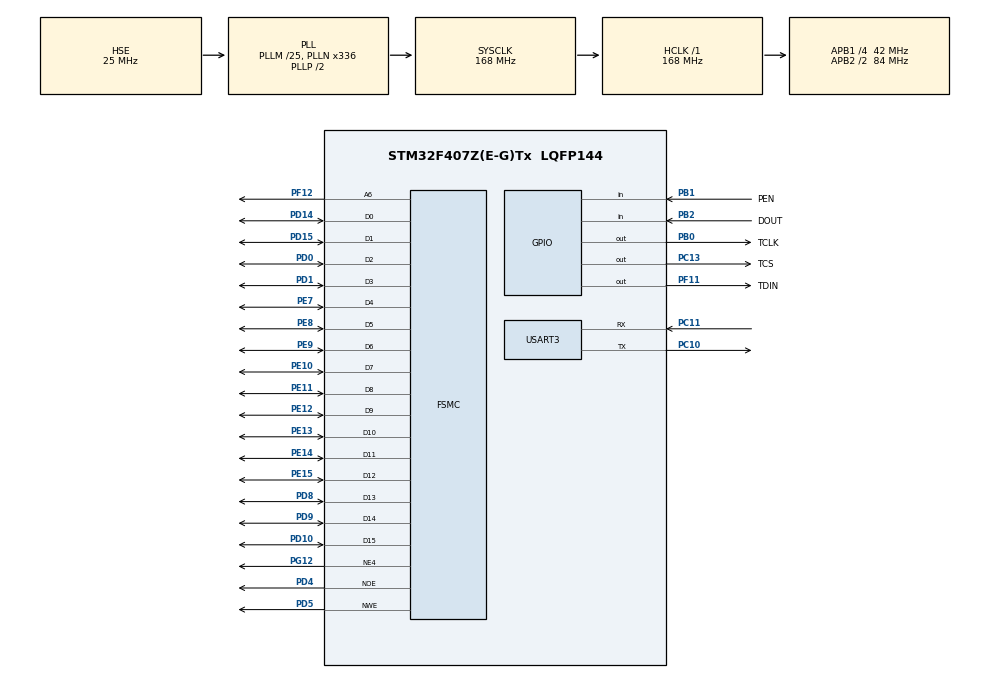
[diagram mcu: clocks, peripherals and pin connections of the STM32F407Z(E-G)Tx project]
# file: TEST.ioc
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Dma.MEMTOMEM.0.Direction=DMA_MEMORY_TO_MEMORY
Dma.MEMTOMEM.0.FIFOMode=DMA_FIFOMODE_ENABLE
Dma.MEMTOMEM.0.FIFOThreshold=DMA_FIFO_THRESHOLD_FULL
Dma.MEMTOMEM.0.Instance=DMA2_Stream0
Dma.MEMTOMEM.0.MemBurst=DMA_MBURST_SINGLE
Dma.MEMTOMEM.0.MemDataAlignment=DMA_MDATAALIGN_HALFWORD
Dma.MEMTOMEM.0.MemInc=DMA_MINC_ENABLE
Dma.MEMTOMEM.0.Mode=DMA_NORMAL
Dma.MEMTOMEM.0.PeriphBurst=DMA_PBURST_SINGLE
Dma.MEMTOMEM.0.PeriphDataAlignment=DMA_PDATAALIGN_HALFWORD
Dma.MEMTOMEM.0.PeriphInc=DMA_PINC_ENABLE
Dma.MEMTOMEM.0.Priority=DMA_PRIORITY_LOW
Dma.Request0=MEMTOMEM
FREERTOS.Tasks01=defaultTask,0,128,StartDefaultTask,Default,NULL,Dynamic,NULL,NULL;myTask02,-3,2048,StartTask02,Default,NULL,Dynamic,NULL,NULL
FSMC.AddressSetupTime4=2
FSMC.BusTurnAroundDuration4=0
FSMC.DataSetupTime4=16
FSMC.ExtendedAddressSetupTime4=4
FSMC.ExtendedBusTurnAroundDuration4=0
FSMC.ExtendedDataSetupTime4=9
FSMC.ExtendedMode4=FSMC_EXTENDED_MODE_ENABLE
Mcu.Family=STM32F4
Mcu.Name=STM32F407Z(E-G)Tx
Mcu.Package=LQFP144
NVIC.PriorityGroup=NVIC_PRIORITYGROUP_4
NVIC.TIM1_UP_TIM10_IRQn=true\:5\:0\:false\:false\:true\:true\:true\:true\:true
NVIC.TIM6_DAC_IRQn=true\:15\:0\:false\:false\:true\:false\:false\:true\:true
NVIC.TimeBase=TIM6_DAC_IRQn
NVIC.TimeBaseIP=TIM6
PA13.Mode=Serial_Wire
PA13.Signal=SYS_JTMS-SWDIO
PA14.Mode=Serial_Wire
PA14.Signal=SYS_JTCK-SWCLK
PB0.GPIO_Label=TCLK
PB0.GPIO_Speed=GPIO_SPEED_FREQ_VERY_HIGH
PB0.PinState=GPIO_PIN_SET
PB0.Signal=GPIO_Output
PB1.GPIO_Label=PEN
PB1.GPIO_PuPd=GPIO_PULLUP
PB1.Signal=GPIO_Input
PB2.GPIO_Label=DOUT
PB2.Signal=GPIO_Input
PB3.Signal=SPI1_SCK
PB4.Signal=SPI1_MISO
PB5.Signal=SPI1_MOSI
PC10.Mode=Asynchronous
PC10.Signal=USART3_TX
PC11.Mode=Asynchronous
PC11.Signal=USART3_RX
PC13-ANTI_TAMP.GPIO_Label=TCS
PC13-ANTI_TAMP.PinState=GPIO_PIN_SET
PC13-ANTI_TAMP.Signal=GPIO_Output
PD0.Signal=FSMC_D2_DA2
PD1.Signal=FSMC_D3_DA3
PD10.Signal=FSMC_D15_DA15
PD14.Signal=FSMC_D0_DA0
PD15.Signal=FSMC_D1_DA1
PD4.Signal=FSMC_NOE
PD5.Signal=FSMC_NWE
PD8.Signal=FSMC_D13_DA13
PD9.Signal=FSMC_D14_DA14
PE10.Signal=FSMC_D7_DA7
PE11.Signal=FSMC_D8_DA8
PE12.Signal=FSMC_D9_DA9
PE13.Signal=FSMC_D10_DA10
PE14.Signal=FSMC_D11_DA11
PE15.Signal=FSMC_D12_DA12
PE7.Signal=FSMC_D4_DA4
PE8.Signal=FSMC_D5_DA5
PE9.Signal=FSMC_D6_DA6
PF11.GPIO_Label=TDIN
PF11.GPIO_Speed=GPIO_SPEED_FREQ_VERY_HIGH
PF11.Signal=GPIO_Output
PF12.Signal=FSMC_A6
PG12.Mode=NorPsramChipSelect4_4
PG12.Signal=FSMC_NE4
PH0-OSC_IN.Mode=HSE-External-Oscillator
PH0-OSC_IN.Signal=RCC_OSC_IN
PH1-OSC_OUT.Mode=HSE-External-Oscillator
PH1-OSC_OUT.Signal=RCC_OSC_OUT
ProjectManager.HeapSize=0x2000
ProjectManager.StackSize=0x2000
ProjectManager.TargetToolchain=MDK-ARM V5.32
RCC.48MHZClocksFreq_Value=67200000
RCC.AHBFreq_Value=168000000
RCC.APB1CLKDivider=RCC_HCLK_DIV4
RCC.APB1Freq_Value=42000000
RCC.APB1TimFreq_Value=84000000
RCC.APB2CLKDivider=RCC_HCLK_DIV2
RCC.APB2Freq_Value=84000000
RCC.APB2TimFreq_Value=168000000
RCC.CortexFreq_Value=168000000
RCC.HCLKFreq_Value=168000000
RCC.HSE_VALUE=25000000
RCC.HSI_VALUE=16000000
RCC.LSE_VALUE=32768
RCC.PLLM=25
RCC.PLLN=336
RCC.PLLQ=5
RCC.PLLSourceVirtual=RCC_PLLSOURCE_HSE
RCC.SYSCLKFreq_VALUE=168000000
RCC.SYSCLKSource=RCC_SYSCLKSOURCE_PLLCLK
RCC.VCOOutputFreq_Value=336000000
SH.FSMC_A6.0=FSMC_A6,A6_4
SH.FSMC_D0_DA0.0=FSMC_D0,16b-d4
SH.FSMC_D10_DA10.0=FSMC_D10,16b-d4
SH.FSMC_D11_DA11.0=FSMC_D11,16b-d4
SH.FSMC_D12_DA12.0=FSMC_D12,16b-d4
SH.FSMC_D13_DA13.0=FSMC_D13,16b-d4
SH.FSMC_D14_DA14.0=FSMC_D14,16b-d4
SH.FSMC_D15_DA15.0=FSMC_D15,16b-d4
SH.FSMC_D1_DA1.0=FSMC_D1,16b-d4
SH.FSMC_D2_DA2.0=FSMC_D2,16b-d4
SH.FSMC_D3_DA3.0=FSMC_D3,16b-d4
SH.FSMC_D4_DA4.0=FSMC_D4,16b-d4
SH.FSMC_D5_DA5.0=FSMC_D5,16b-d4
SH.FSMC_D6_DA6.0=FSMC_D6,16b-d4
SH.FSMC_D7_DA7.0=FSMC_D7,16b-d4
SH.FSMC_D8_DA8.0=FSMC_D8,16b-d4
SH.FSMC_D9_DA9.0=FSMC_D9,16b-d4
SH.FSMC_NOE.0=FSMC_NOE,Lcd4
SH.FSMC_NWE.0=FSMC_NWE,Lcd4
TIM10.AutoReloadPreload=TIM_AUTORELOAD_PRELOAD_DISABLE
TIM10.Period=999
TIM10.Prescaler=83
USART3.VirtualMode=VM_ASYNC
VP_FREERTOS_VS_CMSIS_V1.Mode=CMSIS_V1
VP_SYS_VS_tim6.Mode=TIM6
VP_TIM10_VS_ClockSourceINT.Mode=Enable_Timer
board=custom

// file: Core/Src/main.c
/* USER CODE BEGIN Header */
/**
  ******************************************************************************
  * @file           : main.c
  * @brief          : Main program body
  ******************************************************************************
  * @attention
  *
  * Copyright (c) 2025 STMicroelectronics.
  * All rights reserved.
  *
  * This software is licensed under terms that can be found in the LICENSE file
  * in the root directory of this software component.
  * If no LICENSE file comes with this software, it is provided AS-IS.
  *
  ******************************************************************************
  */
/* USER CODE END Header */
#include "main.h"
#include "cmsis_os.h"
#include "dma.h"
#include "tim.h"
#include "usart.h"
#include "gpio.h"
#include "fsmc.h"

/* USER CODE BEGIN Includes */
#include "lcd.h"
#include "touch.h"
#include "stdio.h"
#include "lvgl.h"
#include "lv_port_disp.h"
#include "lv_port_indev.h"
#include "lv_demo_widgets.h"
/* USER CODE END Includes */

void SystemClock_Config(void);
void MX_FREERTOS_Init(void);

int main(void)
{

  /* MCU Configuration--------------------------------------------------------*/

  /* Reset of all peripherals, Initializes the Flash interface and the Systick. */
  HAL_Init();

  /* Configure the system clock */
  SystemClock_Config();

  /* Initialize all configured peripherals */
  MX_GPIO_Init();
  MX_DMA_Init();
  MX_TIM10_Init();
  MX_FSMC_Init();
  MX_USART3_UART_Init();

  /* Call init function for freertos objects (in cmsis_os2.c) */
  MX_FREERTOS_Init();

  /* Start scheduler */
  osKernelStart();

  /* We should never get here as control is now taken by the scheduler */

  /* Infinite loop */
  /* USER CODE BEGIN WHILE */
  while (1)
  {
		HAL_Delay(5);
    /* USER CODE END WHILE */

  }
}

void SystemClock_Config(void)
{
  RCC_OscInitTypeDef RCC_OscInitStruct = {0};
  RCC_ClkInitTypeDef RCC_ClkInitStruct = {0};

  /** Configure the main internal regulator output voltage
  */
  __HAL_RCC_PWR_CLK_ENABLE();
  __HAL_PWR_VOLTAGESCALING_CONFIG(PWR_REGULATOR_VOLTAGE_SCALE1);

  /** Initializes the RCC Oscillators according to the specified parameters
  * in the RCC_OscInitTypeDef structure.
  */
  RCC_OscInitStruct.OscillatorType = RCC_OSCILLATORTYPE_HSE;
  RCC_OscInitStruct.HSEState = RCC_HSE_ON;
  RCC_OscInitStruct.PLL.PLLState = RCC_PLL_ON;
  RCC_OscInitStruct.PLL.PLLSource = RCC_PLLSOURCE_HSE;
  RCC_OscInitStruct.PLL.PLLM = 25;
  RCC_OscInitStruct.PLL.PLLN = 336;
  RCC_OscInitStruct.PLL.PLLP = RCC_PLLP_DIV2;
  RCC_OscInitStruct.PLL.PLLQ = 5;
  if (HAL_RCC_OscConfig(&RCC_OscInitStruct) != HAL_OK)
  {
    Error_Handler();
  }

  /** Initializes the CPU, AHB and APB buses clocks
  */
  RCC_ClkInitStruct.ClockType = RCC_CLOCKTYPE_HCLK|RCC_CLOCKTYPE_SYSCLK
                              |RCC_CLOCKTYPE_PCLK1|RCC_CLOCKTYPE_PCLK2;
  RCC_ClkInitStruct.SYSCLKSource = RCC_SYSCLKSOURCE_PLLCLK;
  RCC_ClkInitStruct.AHBCLKDivider = RCC_SYSCLK_DIV1;
  RCC_ClkInitStruct.APB1CLKDivider = RCC_HCLK_DIV4;
  RCC_ClkInitStruct.APB2CLKDivider = RCC_HCLK_DIV2;

  if (HAL_RCC_ClockConfig(&RCC_ClkInitStruct, FLASH_LATENCY_5) != HAL_OK)
  {
    Error_Handler();
  }
}

/* USER CODE BEGIN 4 */
//void HAL_TIM_PeriodElapsedCallback(TIM_HandleTypeDef *htim)
//{
//    if(htim->Instance == TIM10)
//    {
//        lv_tick_inc(1);
//    }
//}
/* USER CODE END 4 */

void HAL_TIM_PeriodElapsedCallback(TIM_HandleTypeDef *htim)
{
  if (htim->Instance == TIM6)
  {
    HAL_IncTick();
  }
}

void Error_Handler(void)
{
  __disable_irq();
  while (1)
  {
  }
}

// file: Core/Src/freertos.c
/* USER CODE BEGIN Header */
/**
  ******************************************************************************
  * File Name          : freertos.c
  * Description        : Code for freertos applications
  ******************************************************************************
  * @attention
  *
  * Copyright (c) 2026 STMicroelectronics.
  * All rights reserved.
  *
  * This software is licensed under terms that can be found in the LICENSE file
  * in the root directory of this software component.
  * If no LICENSE file comes with this software, it is provided AS-IS.
  *
  ******************************************************************************
  */
/* USER CODE END Header */

#include "FreeRTOS.h"
#include "task.h"
#include "main.h"
#include "cmsis_os.h"

/* USER CODE BEGIN Includes */
#include "lcd.h"
#include "touch.h"
#include "stdio.h"
#include "lvgl.h"
#include "lv_port_disp.h"
#include "lv_port_indev.h"
#include "lv_demo_widgets.h"
/* USER CODE END Includes */

osThreadId defaultTaskHandle;
osThreadId myTask02Handle;

void StartDefaultTask(void const * argument);
void StartTask02(void const * argument);

void MX_FREERTOS_Init(void); /* (MISRA C 2004 rule 8.1) */

/* GetIdleTaskMemory prototype (linked to static allocation support) */
void vApplicationGetIdleTaskMemory( StaticTask_t **ppxIdleTaskTCBBuffer, StackType_t **ppxIdleTaskStackBuffer, uint32_t *pulIdleTaskStackSize );

/* USER CODE BEGIN GET_IDLE_TASK_MEMORY */
static StaticTask_t xIdleTaskTCBBuffer;
static StackType_t xIdleStack[configMINIMAL_STACK_SIZE];

void vApplicationGetIdleTaskMemory( StaticTask_t **ppxIdleTaskTCBBuffer, StackType_t **ppxIdleTaskStackBuffer, uint32_t *pulIdleTaskStackSize )
{
  *ppxIdleTaskTCBBuffer = &xIdleTaskTCBBuffer;
  *ppxIdleTaskStackBuffer = &xIdleStack[0];
  *pulIdleTaskStackSize = configMINIMAL_STACK_SIZE;
  /* place for user code */
}
/* USER CODE END GET_IDLE_TASK_MEMORY */

void MX_FREERTOS_Init(void) {

  /* Create the thread(s) */
  /* definition and creation of defaultTask */
  osThreadDef(defaultTask, StartDefaultTask, osPriorityNormal, 0, 128);
  defaultTaskHandle = osThreadCreate(osThread(defaultTask), NULL);

  /* definition and creation of myTask02 */
  osThreadDef(myTask02, StartTask02, osPriorityIdle, 0, 2048);
  myTask02Handle = osThreadCreate(osThread(myTask02), NULL);

}

void StartDefaultTask(void const * argument)
{
  for(;;)
  {
    osDelay(1);
  }
}

void StartTask02(void const * argument)
{
  /* USER CODE BEGIN StartTask02 */
			 // 初始化lvgl
   lv_init();

    // 初始化lvgl显示设备
   lv_port_disp_init();

    // 初始化lvgl输入设备
   lv_port_indev_init();

    // 初始化lvgl demo
   lv_demo_widgets();
  /* Infinite loop */
  for(;;)
  {
		lv_task_handler();           // LVGL 处理
    osDelay(5);
  }
  /* USER CODE END StartTask02 */
}
